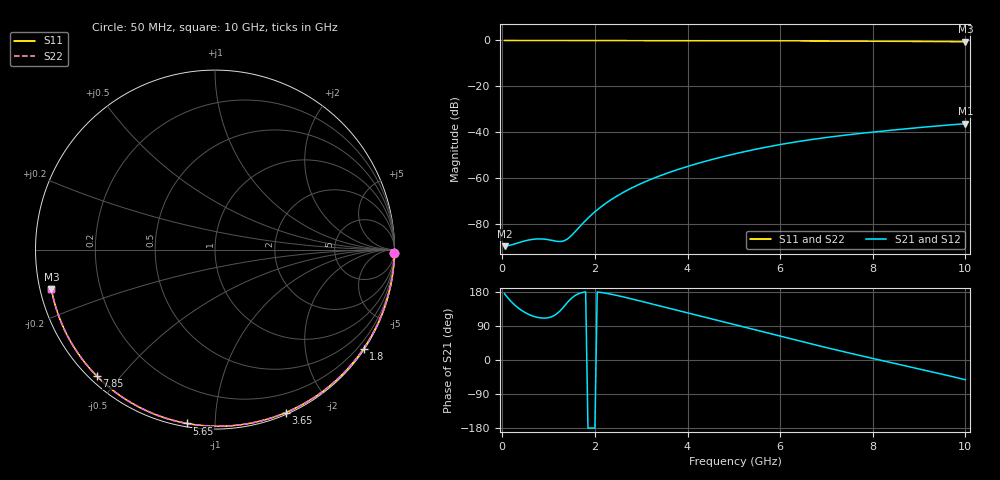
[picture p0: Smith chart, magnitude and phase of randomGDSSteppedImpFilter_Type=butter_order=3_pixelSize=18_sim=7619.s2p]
! freq	dB(S11)	phase(S11)	dB(S12)	phase(S12)
!  dB(S21)	phase(S21)	dB(S22)	phase(S22)
!S-par simulation data
#  GHz  S  DB  R 50
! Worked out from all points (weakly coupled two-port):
!   200 points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, 50 MHz to 10 GHz, reference 50 ohm
!   highest |S21| = -36.38 dB at 10 GHz (marker M1); lowest = -89.9 dB at 50 MHz (marker M2)
!   lowest |S11| = -0.6 dB at 10 GHz (marker M3), VSWR 31.13, Z = 1.63 - j5.97 ohm
!   |S11| at or under -10 dB: nowhere
!   |S22| runs from -0.6 to 0.0 dB; largest |S21 - S12| = 0
!   S11 on the Smith chart (normalised r, x): 50 MHz: open; 1.8 GHz: 0.03, -3.30; 3.65 GHz: 0.02, -1.53; 5.65 GHz: 0.02, -0.85; 7.85 GHz: 0.02, -0.43; 10 GHz: 0.03, -0.12
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0.05  -0.00 -1.0  -89.90 174.8  -89.90 174.8  -0.00 -1.0
0.45  -0.01 -8.6  -87.80 128.3  -87.80 128.3  -0.01 -8.6
0.85  -0.02 -16.1  -86.74 110.8  -86.74 110.8  -0.02 -16.1
1.7  -0.04 -31.9  -80.75 177.2  -80.75 177.2  -0.04 -31.9
1.75  -0.04 -32.8  -79.68 178.8  -79.68 178.8  -0.04 -32.8
1.8  -0.04 -33.7  -78.64 179.7  -78.64 179.7  -0.04 -33.7
1.95  -0.05 -36.5  -75.76 -179.6  -75.76 -179.6  -0.05 -36.5
2.15  -0.05 -40.1  -72.44 177.9  -72.44 177.9  -0.05 -40.1
2.5  -0.06 -46.4  -67.70 169.7  -67.70 169.7  -0.06 -46.4
2.9  -0.07 -53.5  -63.42 158.0  -63.42 158.0  -0.07 -53.5
3.4  -0.08 -62.2  -59.17 142.7  -59.17 142.7  -0.08 -62.2
3.65  -0.09 -66.5  -57.36 135.0  -57.36 135.0  -0.09 -66.5
4.35  -0.11 -78.3  -53.00 113.6  -53.00 113.6  -0.11 -78.3
5.05  -0.14 -89.7  -49.41 92.3  -49.41 92.3  -0.14 -89.7
5.65  -0.16 -99.2  -46.82 73.8  -46.82 73.8  -0.16 -99.2
6.15  -0.19 -107.0  -44.97 58.4  -44.97 58.4  -0.19 -107.0
6.7  -0.23 -115.5  -43.23 41.7  -43.23 41.7  -0.23 -115.5
7.25  -0.26 -123.9  -41.76 25.4  -41.76 25.4  -0.26 -123.9
7.85  -0.31 -133.0  -40.37 8.3  -40.37 8.3  -0.31 -133.0
8.35  -0.36 -140.6  -39.33 -5.5  -39.33 -5.5  -0.36 -140.6
9.2  -0.46 -153.6  -37.71 -28.9  -37.71 -28.9  -0.46 -153.7
10  -0.56 -166.4  -36.38 -52.2  -36.38 -52.2  -0.56 -166.4
